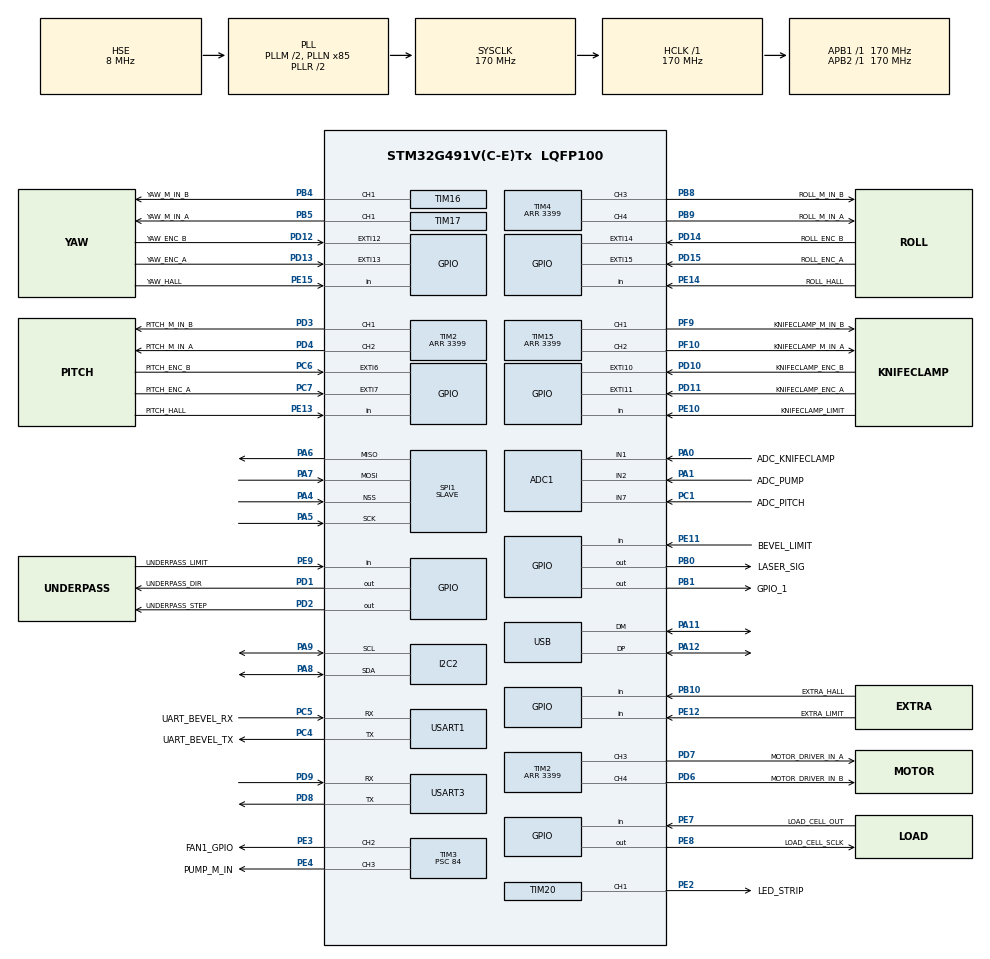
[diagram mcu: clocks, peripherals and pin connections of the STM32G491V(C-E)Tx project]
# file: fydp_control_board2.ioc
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ADC1.Channel-0\#ChannelRegularConversion=ADC_CHANNEL_1
ADC1.Channel-1\#ChannelRegularConversion=ADC_CHANNEL_2
ADC1.Channel-2\#ChannelRegularConversion=ADC_CHANNEL_7
ADC1.Channel-3\#ChannelRegularConversion=ADC_CHANNEL_1
ADC1.ContinuousConvMode=ENABLE
ADC1.DMAContinuousRequests=ENABLE
ADC1.NbrOfConversion=4
ADC1.NbrOfConversionFlag=1
ADC1.OffsetNumber-0\#ChannelRegularConversion=ADC_OFFSET_NONE
ADC1.OffsetNumber-1\#ChannelRegularConversion=ADC_OFFSET_NONE
ADC1.OffsetNumber-2\#ChannelRegularConversion=ADC_OFFSET_NONE
ADC1.OffsetNumber-3\#ChannelRegularConversion=ADC_OFFSET_NONE
ADC1.Overrun=ADC_OVR_DATA_OVERWRITTEN
ADC1.Rank-0\#ChannelRegularConversion=1
ADC1.Rank-1\#ChannelRegularConversion=2
ADC1.Rank-2\#ChannelRegularConversion=3
ADC1.Rank-3\#ChannelRegularConversion=4
ADC1.SamplingTime-0\#ChannelRegularConversion=ADC_SAMPLETIME_47CYCLES_5
ADC1.SamplingTime-1\#ChannelRegularConversion=ADC_SAMPLETIME_47CYCLES_5
ADC1.SamplingTime-2\#ChannelRegularConversion=ADC_SAMPLETIME_47CYCLES_5
ADC1.SamplingTime-3\#ChannelRegularConversion=ADC_SAMPLETIME_2CYCLES_5
ADC1.master=1
Dma.ADC1.0.Direction=DMA_PERIPH_TO_MEMORY
Dma.ADC1.0.EventEnable=DISABLE
Dma.ADC1.0.Instance=DMA1_Channel1
Dma.ADC1.0.MemDataAlignment=DMA_MDATAALIGN_HALFWORD
Dma.ADC1.0.MemInc=DMA_MINC_ENABLE
Dma.ADC1.0.Mode=DMA_NORMAL
Dma.ADC1.0.PeriphDataAlignment=DMA_PDATAALIGN_HALFWORD
Dma.ADC1.0.PeriphInc=DMA_PINC_DISABLE
Dma.ADC1.0.Polarity=HAL_DMAMUX_REQ_GEN_RISING
Dma.ADC1.0.Priority=DMA_PRIORITY_LOW
Dma.ADC1.0.RequestNumber=1
Dma.ADC1.0.SignalID=NONE
Dma.ADC1.0.SyncEnable=DISABLE
Dma.ADC1.0.SyncPolarity=HAL_DMAMUX_SYNC_NO_EVENT
Dma.ADC1.0.SyncRequestNumber=1
Dma.ADC1.0.SyncSignalID=NONE
Dma.Request0=ADC1
I2C2.Timing=0x40B285C2
Mcu.Family=STM32G4
Mcu.Name=STM32G491V(C-E)Tx
Mcu.Package=LQFP100
NVIC.DMA1_Channel1_IRQn=true\:0\:0\:false\:false\:true\:false\:true\:true
NVIC.EXTI15_10_IRQn=true\:0\:0\:false\:false\:true\:true\:true\:true
NVIC.EXTI9_5_IRQn=true\:0\:0\:false\:false\:true\:true\:true\:true
NVIC.I2C2_ER_IRQn=true\:0\:0\:false\:false\:true\:true\:true\:true
NVIC.I2C2_EV_IRQn=true\:0\:0\:false\:false\:true\:true\:true\:true
NVIC.PriorityGroup=NVIC_PRIORITYGROUP_4
NVIC.SPI1_IRQn=true\:0\:0\:false\:false\:true\:true\:true\:true
NVIC.TIM6_DAC_IRQn=true\:0\:0\:false\:false\:true\:true\:true\:true
NVIC.USB_LP_IRQn=true\:0\:0\:false\:false\:true\:false\:true\:true
PA0.GPIO_Label=ADC_KNIFECLAMP
PA0.Mode=IN1-Single-Ended
PA0.Signal=ADC1_IN1
PA1.GPIO_Label=ADC_PUMP
PA1.Mode=IN2-Single-Ended
PA1.Signal=ADC1_IN2
PA11.Mode=Device
PA11.Signal=USB_DM
PA12.Mode=Device
PA12.Signal=USB_DP
PA13.Mode=Trace_Asynchronous_SW
PA13.Signal=SYS_JTMS-SWDIO
PA14.Mode=Trace_Asynchronous_SW
PA14.Signal=SYS_JTCK-SWCLK
PA4.GPIO_Speed=GPIO_SPEED_FREQ_LOW
PA4.Mode=NSS_Signal_Hard_Input
PA4.Signal=SPI1_NSS
PA5.GPIO_Speed=GPIO_SPEED_FREQ_LOW
PA5.Mode=Full_Duplex_Slave
PA5.Signal=SPI1_SCK
PA6.GPIO_Speed=GPIO_SPEED_FREQ_LOW
PA6.Mode=Full_Duplex_Slave
PA6.Signal=SPI1_MISO
PA7.GPIO_Mode=GPIO_MODE_AF_PP
PA7.GPIO_Speed=GPIO_SPEED_FREQ_LOW
PA7.Mode=Full_Duplex_Slave
PA7.Signal=SPI1_MOSI
PA8.GPIO_Pu=GPIO_PULLUP
PA8.GPIO_Speed=GPIO_SPEED_FREQ_VERY_HIGH
PA8.Mode=I2C
PA8.Signal=I2C2_SDA
PA9.GPIO_Pu=GPIO_PULLUP
PA9.GPIO_Speed=GPIO_SPEED_FREQ_VERY_HIGH
PA9.Mode=I2C
PA9.Signal=I2C2_SCL
PB0.GPIO_Label=LASER_SIG
PB0.Signal=GPIO_Output
PB1.GPIO_Label=GPIO_1
PB1.Signal=GPIO_Output
PB10.GPIO_Label=EXTRA_HALL
PB10.GPIO_PuPd=GPIO_PULLDOWN
PB10.Signal=GPIO_Input
PB3.Mode=Trace_Asynchronous_SW
PB3.Signal=SYS_JTDO-SWO
PB4.GPIO_Label=YAW_M_IN_B
PB4.Signal=S_TIM16_CH1
PB5.GPIO_Label=YAW_M_IN_A
PB5.Signal=S_TIM17_CH1
PB8-BOOT0.GPIO_Label=ROLL_M_IN_B
PB8-BOOT0.Signal=S_TIM4_CH3
PB9.GPIO_Label=ROLL_M_IN_A
PB9.Signal=S_TIM4_CH4
PC1.GPIO_Label=ADC_PITCH
PC1.Mode=IN7-Single-Ended
PC1.Signal=ADC1_IN7
PC4.GPIO_Label=UART_BEVEL_TX
PC4.Mode=Asynchronous
PC4.Signal=USART1_TX
PC5.GPIO_Label=UART_BEVEL_RX
PC5.Mode=Asynchronous
PC5.Signal=USART1_RX
PC6.GPIO_Label=PITCH_ENC_B
PC6.GPIO_ModeDefaultEXTI=GPIO_MODE_IT_RISING_FALLING
PC6.Signal=GPXTI6
PC7.GPIO_Label=PITCH_ENC_A
PC7.GPIO_ModeDefaultEXTI=GPIO_MODE_IT_RISING_FALLING
PC7.Signal=GPXTI7
PD1.GPIO_Label=UNDERPASS_DIR
PD1.Signal=GPIO_Output
PD10.GPIO_Label=KNIFECLAMP_ENC_B
PD10.GPIO_ModeDefaultEXTI=GPIO_MODE_IT_RISING_FALLING
PD10.Signal=GPXTI10
PD11.GPIO_Label=KNIFECLAMP_ENC_A
PD11.GPIO_ModeDefaultEXTI=GPIO_MODE_IT_RISING_FALLING
PD11.Signal=GPXTI11
PD12.GPIO_Label=YAW_ENC_B
PD12.GPIO_ModeDefaultEXTI=GPIO_MODE_IT_RISING_FALLING
PD12.Signal=GPXTI12
PD13.GPIO_Label=YAW_ENC_A
PD13.GPIO_ModeDefaultEXTI=GPIO_MODE_IT_RISING_FALLING
PD13.Signal=GPXTI13
PD14.GPIO_Label=ROLL_ENC_B
PD14.GPIO_ModeDefaultEXTI=GPIO_MODE_IT_RISING_FALLING
PD14.Signal=GPXTI14
PD15.GPIO_Label=ROLL_ENC_A
PD15.GPIO_ModeDefaultEXTI=GPIO_MODE_IT_RISING_FALLING
PD15.Signal=GPXTI15
PD2.GPIO_Label=UNDERPASS_STEP
PD2.GPIO_Speed=GPIO_SPEED_FREQ_VERY_HIGH
PD2.PinState=GPIO_PIN_RESET
PD2.Signal=GPIO_Output
PD3.GPIO_Label=PITCH_M_IN_B
PD3.Signal=S_TIM2_CH1
PD4.GPIO_Label=PITCH_M_IN_A
PD4.Signal=S_TIM2_CH2
PD6.GPIO_Label=MOTOR_DRIVER_IN_B
PD6.Signal=S_TIM2_CH4
PD7.GPIO_Label=MOTOR_DRIVER_IN_A
PD7.Signal=S_TIM2_CH3
PD8.Mode=Asynchronous
PD8.Signal=USART3_TX
PD9.Mode=Asynchronous
PD9.Signal=USART3_RX
PE10.GPIO_Label=KNIFECLAMP_LIMIT
PE10.GPIO_PuPd=GPIO_PULLDOWN
PE10.Signal=GPIO_Input
PE11.GPIO_Label=BEVEL_LIMIT
PE11.GPIO_PuPd=GPIO_PULLDOWN
PE11.Signal=GPIO_Input
PE12.GPIO_Label=EXTRA_LIMIT
PE12.GPIO_PuPd=GPIO_PULLDOWN
PE12.Signal=GPIO_Input
PE13.GPIO_Label=PITCH_HALL
PE13.GPIO_PuPd=GPIO_PULLDOWN
PE13.Signal=GPIO_Input
PE14.GPIO_Label=ROLL_HALL
PE14.GPIO_PuPd=GPIO_PULLDOWN
PE14.Signal=GPIO_Input
PE15.GPIO_Label=YAW_HALL
PE15.GPIO_PuPd=GPIO_PULLDOWN
PE15.Signal=GPIO_Input
PE2.GPIO_Label=LED_STRIP
PE2.GPIO_PuPd=GPIO_PULLDOWN
PE2.Signal=S_TIM20_CH1
PE3.GPIO_Label=FAN1_GPIO
PE3.GPIO_PuPd=GPIO_PULLDOWN
PE3.Signal=S_TIM3_CH2
PE4.GPIO_Label=PUMP_M_IN
PE4.GPIO_PuPd=GPIO_PULLDOWN
PE4.Signal=S_TIM3_CH3
PE7.GPIO_Label=LOAD_CELL_OUT
PE7.Signal=GPIO_Input
PE8.GPIO_Label=LOAD_CELL_SCLK
PE8.Signal=GPIO_Output
PE9.GPIO_Label=UNDERPASS_LIMIT
PE9.GPIO_PuPd=GPIO_PULLDOWN
PE9.Signal=GPIO_Input
PF0-OSC_IN.Mode=HSE-External-Oscillator
PF0-OSC_IN.Signal=RCC_OSC_IN
PF1-OSC_OUT.Mode=HSE-External-Oscillator
PF1-OSC_OUT.Signal=RCC_OSC_OUT
PF10.GPIO_Label=KNIFECLAMP_M_IN_A
PF10.Signal=S_TIM15_CH2
PF9.GPIO_Label=KNIFECLAMP_M_IN_B
PF9.Signal=S_TIM15_CH1
ProjectManager.HeapSize=0x200
ProjectManager.StackSize=0x400
ProjectManager.TargetToolchain=CMake
RCC.ADC12Freq_Value=170000000
RCC.ADC345Freq_Value=170000000
RCC.AHBFreq_Value=170000000
RCC.APB1Freq_Value=170000000
RCC.APB1TimFreq_Value=170000000
RCC.APB2Freq_Value=170000000
RCC.APB2TimFreq_Value=170000000
RCC.CortexFreq_Value=170000000
RCC.EXTERNAL_CLOCK_VALUE=12288000
RCC.HCLKFreq_Value=170000000
RCC.HSE_VALUE=8000000
RCC.HSI48_VALUE=48000000
RCC.HSI_VALUE=16000000
RCC.LSE_VALUE=32768
RCC.PLLM=RCC_PLLM_DIV2
RCC.PLLN=85
RCC.PLLSourceVirtual=RCC_PLLSOURCE_HSE
RCC.SYSCLKFreq_VALUE=170000000
RCC.SYSCLKSource=RCC_SYSCLKSOURCE_PLLCLK
RCC.USBFreq_Value=48000000
RCC.VCOOutputFreq_Value=340000000
SH.S_TIM15_CH1.0=TIM15_CH1,PWM Generation1 CH1
SH.S_TIM15_CH2.0=TIM15_CH2,PWM Generation2 CH2
SH.S_TIM16_CH1.0=TIM16_CH1,PWM Generation1 CH1
SH.S_TIM17_CH1.0=TIM17_CH1,PWM Generation1 CH1
SH.S_TIM20_CH1.0=TIM20_CH1,PWM Generation1 CH1
SH.S_TIM2_CH1.0=TIM2_CH1,PWM Generation1 CH1
SH.S_TIM2_CH2.0=TIM2_CH2,PWM Generation2 CH2
SH.S_TIM2_CH3.0=TIM2_CH3,PWM Generation3 CH3
SH.S_TIM2_CH4.0=TIM2_CH4,PWM Generation4 CH4
SH.S_TIM3_CH2.0=TIM3_CH2,PWM Generation2 CH2
SH.S_TIM3_CH3.0=TIM3_CH3,PWM Generation3 CH3
SH.S_TIM4_CH3.0=TIM4_CH3,PWM Generation3 CH3
SH.S_TIM4_CH4.0=TIM4_CH4,PWM Generation4 CH4
SPI1.DataSize=SPI_DATASIZE_8BIT
SPI1.Direction=SPI_DIRECTION_2LINES
SPI1.Mode=SPI_MODE_SLAVE
SPI1.VirtualNSS=VM_NSSHARD
SPI1.VirtualType=VM_SLAVE
TIM15.Channel-PWM\ Generation1\ CH1=TIM_CHANNEL_1
TIM15.Channel-PWM\ Generation2\ CH2=TIM_CHANNEL_2
TIM15.PeriodNoDither=3399
TIM16.Channel=TIM_CHANNEL_1
TIM16.PeriodNoDither=3399
TIM17.Channel=TIM_CHANNEL_1
TIM17.PeriodNoDither=3399
TIM2.Channel-PWM\ Generation1\ CH1=TIM_CHANNEL_1
TIM2.Channel-PWM\ Generation2\ CH2=TIM_CHANNEL_2
TIM2.Channel-PWM\ Generation3\ CH3=TIM_CHANNEL_3
TIM2.Channel-PWM\ Generation4\ CH4=TIM_CHANNEL_4
TIM2.PeriodNoDither=3399
TIM20.Channel-PWM\ Generation1\ CH1=TIM_CHANNEL_1
TIM20.PeriodNoDither=42499
TIM3.Channel-PWM\ Generation1\ CH1=TIM_CHANNEL_1
TIM3.Channel-PWM\ Generation2\ CH2=TIM_CHANNEL_2
TIM3.Channel-PWM\ Generation3\ CH3=TIM_CHANNEL_3
TIM3.PeriodNoDither=29999
TIM3.Prescaler=84
TIM4.Channel-PWM\ Generation3\ CH3=TIM_CHANNEL_3
TIM4.Channel-PWM\ Generation4\ CH4=TIM_CHANNEL_4
TIM4.PeriodNoDither=3399
TIM6.PeriodNoDither=33999
TIM6.Prescaler=4
TIM7.AutoReloadPreload=TIM_AUTORELOAD_PRELOAD_ENABLE
TIM7.PeriodNoDither=65535
TIM7.Prescaler=169
USART1.VirtualMode-Asynchronous=VM_ASYNC
USART3.VirtualMode-Asynchronous=VM_ASYNC
USB_DEVICE.CLASS_NAME_FS=CDC
USB_DEVICE.VirtualMode=Cdc
USB_DEVICE.VirtualModeFS=Cdc_FS
VP_SYS_VS_DBSignals.Mode=DisableDeadBatterySignals
VP_TIM16_VS_ClockSourceINT.Mode=Enable_Timer
VP_TIM17_VS_ClockSourceINT.Mode=Enable_Timer
VP_TIM6_VS_ClockSourceINT.Mode=Enable_Timer
VP_TIM7_VS_ClockSourceINT.Mode=Enable_Timer
VP_USB_DEVICE_VS_USB_DEVICE_CDC_FS.Mode=CDC_FS
board=custom

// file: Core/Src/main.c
/* USER CODE BEGIN Header */
/**
  ******************************************************************************
  * @file           : main.c
  * @brief          : Main program body
  ******************************************************************************
  * @attention
  *
  * Copyright (c) 2025 STMicroelectronics.
  * All rights reserved.
  *
  * This software is licensed under terms that can be found in the LICENSE file
  * in the root directory of this software component.
  * If no LICENSE file comes with this software, it is provided AS-IS.
  *
  ******************************************************************************
  */
/* USER CODE END Header */
#include "main.h"
#include "encoder.h"
#include "stm32g4xx_hal_gpio.h"
#include "usb_device.h"

/* USER CODE BEGIN Includes */

// standard library

// MOTOR CONTROL
#include "drv8251.h"
#include "qpid.h"
#include "robot_config.h"

// STATE MACHINE
#include "robot_control.h"
#include "robot_state.h"

#include "tiny_ring_buffer.h"

//USB Libs
#include "usb_device.h"
#include <stdint.h>
#include <string.h>
#include <stdio.h>
#include <sys/_intsup.h>

#include "test.h"

/* USER CODE END Includes */

ADC_HandleTypeDef hadc1;
DMA_HandleTypeDef hdma_adc1;

I2C_HandleTypeDef hi2c2;

SPI_HandleTypeDef hspi1;

TIM_HandleTypeDef htim2;
TIM_HandleTypeDef htim3;
TIM_HandleTypeDef htim4;
TIM_HandleTypeDef htim6;
TIM_HandleTypeDef htim7;
TIM_HandleTypeDef htim15;
TIM_HandleTypeDef htim16;
TIM_HandleTypeDef htim17;
TIM_HandleTypeDef htim20;

UART_HandleTypeDef huart1;
UART_HandleTypeDef huart3;

/* USER CODE BEGIN PV */
static volatile uint8_t div_10ms;
static volatile uint8_t flag_10ms;

extern uint8_t spi_rx_raw;
extern uint8_t spi_tx_raw;

extern uint8_t spi_rx_store[];
extern tiny_ring_buffer_t spi_rx_buf;
extern uint8_t spi_tx_store[];
extern tiny_ring_buffer_t spi_tx_buf;

uint8_t RX_Buffer [8];

/* USER CODE END PV */

void SystemClock_Config(void);
static void MX_GPIO_Init(void);
static void MX_DMA_Init(void);
static void MX_SPI1_Init(void);
static void MX_TIM3_Init(void);
static void MX_TIM4_Init(void);
static void MX_TIM15_Init(void);
static void MX_TIM16_Init(void);
static void MX_TIM17_Init(void);
static void MX_USART1_UART_Init(void);
static void MX_ADC1_Init(void);
static void MX_I2C2_Init(void);
static void MX_USART3_UART_Init(void);
static void MX_TIM6_Init(void);
static void MX_TIM7_Init(void);
static void MX_TIM20_Init(void);
static void MX_TIM2_Init(void);
/* USER CODE BEGIN PFP */
void HAL_GPIO_EXTI_Callback(uint16_t GPIO_Pin);
/* USER CODE END PFP */

/* USER CODE BEGIN 0 */
void HAL_GPIO_EXTI_Callback(uint16_t GPIO_Pin) {
  switch (GPIO_Pin) {
    case YAW_ENC_A_Pin:
    case YAW_ENC_B_Pin:
        Encoder_EXTI_Callback(dc_yaw.enc);
      break;
    case PITCH_ENC_A_Pin:
    case PITCH_ENC_B_Pin:
        Encoder_EXTI_Callback(dc_pitch.enc);
      break;
    case ROLL_ENC_A_Pin:
    case ROLL_ENC_B_Pin:
        Encoder_EXTI_Callback(dc_roll.enc);
      break;
    case KNIFECLAMP_ENC_A_Pin:
    case KNIFECLAMP_ENC_B_Pin:
        Encoder_EXTI_Callback(dc_clamp.enc);
      break;

    default:
      break;
  }
}

void HAL_TIM_PeriodElapsedCallback(TIM_HandleTypeDef *htim) {
  if (htim->Instance == TIM6) {

    // 1 ms update
    for (int i = 0; i < NUM_DC_MOTORS; i++) {
      MotorCtrl_Update(dc_motors[i]);
    }

    // 10 ms update
    if (++div_10ms >= 10) {
      div_10ms  = 0;
      flag_10ms = 1;
    }
  }
}

void HAL_SPI_TxRxCpltCallback(SPI_HandleTypeDef *hspi) {
  if (hspi->Instance == SPI1) {
    // buffer the received byte into the SPI RX ring buffer
    tiny_ring_buffer_insert(&spi_rx_buf, &spi_rx_raw);

    // pop next byte to transmit from the SPI TX ring buffer, or send empty byte if none
    tiny_ring_buffer_remove(&spi_tx_buf, &spi_tx_raw);

    // start next SPI transmit/receive
    HAL_SPI_TransmitReceive_IT(hspi, &spi_tx_raw, &spi_rx_raw, 1);
  }
}

/* USER CODE END 0 */

int main(void)
{

  /* MCU Configuration--------------------------------------------------------*/

  /* Reset of all peripherals, Initializes the Flash interface and the Systick. */
  HAL_Init();

  /* Configure the system clock */
  SystemClock_Config();

  /* Initialize all configured peripherals */
  MX_GPIO_Init();
  MX_DMA_Init();
  MX_SPI1_Init();
  MX_TIM3_Init();
  MX_TIM4_Init();
  MX_TIM15_Init();
  MX_TIM16_Init();
  MX_TIM17_Init();
  MX_USART1_UART_Init();
  MX_ADC1_Init();
  MX_I2C2_Init();
  MX_USART3_UART_Init();
  MX_TIM6_Init();
  MX_USB_Device_Init();
  MX_TIM7_Init();
  MX_TIM20_Init();
  MX_TIM2_Init();
  /* USER CODE BEGIN 2 */
  HAL_TIM_Base_Start_IT(&htim6);
  HAL_TIM_Base_Start(&htim7);
  RobotConfig_Init();

  LED_SetDuty(&led_strip, 1.0f);

  // The_Test();

  RobotState_Init();

  /* USER CODE END 2 */

  /* Infinite loop */
  while (1)
  {

    // /* USER CODE BEGIN 3 */

    RobotState_DecoderHighFreq();

    if (flag_10ms) {
     flag_10ms = 0;
     RobotState_Decoder();
    //  LED_PulseUpdate(&led_strip);
    }
  }
  /* USER CODE END 3 */
}

void SystemClock_Config(void)
{
  RCC_OscInitTypeDef RCC_OscInitStruct = {0};
  RCC_ClkInitTypeDef RCC_ClkInitStruct = {0};

  /** Configure the main internal regulator output voltage
  */
  HAL_PWREx_ControlVoltageScaling(PWR_REGULATOR_VOLTAGE_SCALE1_BOOST);

  /** Initializes the RCC Oscillators according to the specified parameters
  * in the RCC_OscInitTypeDef structure.
  */
  RCC_OscInitStruct.OscillatorType = RCC_OSCILLATORTYPE_HSI48|RCC_OSCILLATORTYPE_HSE;
  RCC_OscInitStruct.HSEState = RCC_HSE_ON;
  RCC_OscInitStruct.HSI48State = RCC_HSI48_ON;
  RCC_OscInitStruct.PLL.PLLState = RCC_PLL_ON;
  RCC_OscInitStruct.PLL.PLLSource = RCC_PLLSOURCE_HSE;
  RCC_OscInitStruct.PLL.PLLM = RCC_PLLM_DIV2;
  RCC_OscInitStruct.PLL.PLLN = 85;
  RCC_OscInitStruct.PLL.PLLP = RCC_PLLP_DIV2;
  RCC_OscInitStruct.PLL.PLLQ = RCC_PLLQ_DIV2;
  RCC_OscInitStruct.PLL.PLLR = RCC_PLLR_DIV2;
  if (HAL_RCC_OscConfig(&RCC_OscInitStruct) != HAL_OK)
  {
    Error_Handler();
  }

  /** Initializes the CPU, AHB and APB buses clocks
  */
  RCC_ClkInitStruct.ClockType = RCC_CLOCKTYPE_HCLK|RCC_CLOCKTYPE_SYSCLK
                              |RCC_CLOCKTYPE_PCLK1|RCC_CLOCKTYPE_PCLK2;
  RCC_ClkInitStruct.SYSCLKSource = RCC_SYSCLKSOURCE_PLLCLK;
  RCC_ClkInitStruct.AHBCLKDivider = RCC_SYSCLK_DIV1;
  RCC_ClkInitStruct.APB1CLKDivider = RCC_HCLK_DIV1;
  RCC_ClkInitStruct.APB2CLKDivider = RCC_HCLK_DIV1;

  if (HAL_RCC_ClockConfig(&RCC_ClkInitStruct, FLASH_LATENCY_4) != HAL_OK)
  {
    Error_Handler();
  }
}

static void MX_ADC1_Init(void)
{

  ADC_MultiModeTypeDef multimode = {0};
  ADC_ChannelConfTypeDef sConfig = {0};

  /** Common config
  */
  hadc1.Instance = ADC1;
  hadc1.Init.ClockPrescaler = ADC_CLOCK_SYNC_PCLK_DIV4;
  hadc1.Init.Resolution = ADC_RESOLUTION_12B;
  hadc1.Init.DataAlign = ADC_DATAALIGN_RIGHT;
  hadc1.Init.GainCompensation = 0;
  hadc1.Init.ScanConvMode = ADC_SCAN_ENABLE;
  hadc1.Init.EOCSelection = ADC_EOC_SINGLE_CONV;
  hadc1.Init.LowPowerAutoWait = DISABLE;
  hadc1.Init.ContinuousConvMode = ENABLE;
  hadc1.Init.NbrOfConversion = 4;
  hadc1.Init.DiscontinuousConvMode = DISABLE;
  hadc1.Init.ExternalTrigConv = ADC_SOFTWARE_START;
  hadc1.Init.ExternalTrigConvEdge = ADC_EXTERNALTRIGCONVEDGE_NONE;
  hadc1.Init.DMAContinuousRequests = ENABLE;
  hadc1.Init.Overrun = ADC_OVR_DATA_OVERWRITTEN;
  hadc1.Init.OversamplingMode = DISABLE;
  if (HAL_ADC_Init(&hadc1) != HAL_OK)
  {
    Error_Handler();
  }

  /** Configure the ADC multi-mode
  */
  multimode.Mode = ADC_MODE_INDEPENDENT;
  if (HAL_ADCEx_MultiModeConfigChannel(&hadc1, &multimode) != HAL_OK)
  {
    Error_Handler();
  }

  /** Configure Regular Channel
  */
  sConfig.Channel = ADC_CHANNEL_1;
  sConfig.Rank = ADC_REGULAR_RANK_1;
  sConfig.SamplingTime = ADC_SAMPLETIME_47CYCLES_5;
  sConfig.SingleDiff = ADC_SINGLE_ENDED;
  sConfig.OffsetNumber = ADC_OFFSET_NONE;
  sConfig.Offset = 0;
  if (HAL_ADC_ConfigChannel(&hadc1, &sConfig) != HAL_OK)
  {
    Error_Handler();
  }

  /** Configure Regular Channel
  */
  sConfig.Channel = ADC_CHANNEL_2;
  sConfig.Rank = ADC_REGULAR_RANK_2;
  if (HAL_ADC_ConfigChannel(&hadc1, &sConfig) != HAL_OK)
  {
    Error_Handler();
  }

  /** Configure Regular Channel
  */
  sConfig.Channel = ADC_CHANNEL_7;
  sConfig.Rank = ADC_REGULAR_RANK_3;
  if (HAL_ADC_ConfigChannel(&hadc1, &sConfig) != HAL_OK)
  {
    Error_Handler();
  }

  /** Configure Regular Channel
  */
  sConfig.Channel = ADC_CHANNEL_1;
  sConfig.Rank = ADC_REGULAR_RANK_4;
  sConfig.SamplingTime = ADC_SAMPLETIME_2CYCLES_5;
  if (HAL_ADC_ConfigChannel(&hadc1, &sConfig) != HAL_OK)
  {
    Error_Handler();
  }

}

static void MX_I2C2_Init(void)
{

  hi2c2.Instance = I2C2;
  hi2c2.Init.Timing = 0x40B285C2;
  hi2c2.Init.OwnAddress1 = 0;
  hi2c2.Init.AddressingMode = I2C_ADDRESSINGMODE_7BIT;
  hi2c2.Init.DualAddressMode = I2C_DUALADDRESS_DISABLE;
  hi2c2.Init.OwnAddress2 = 0;
  hi2c2.Init.OwnAddress2Masks = I2C_OA2_NOMASK;
  hi2c2.Init.GeneralCallMode = I2C_GENERALCALL_DISABLE;
  hi2c2.Init.NoStretchMode = I2C_NOSTRETCH_DISABLE;
  if (HAL_I2C_Init(&hi2c2) != HAL_OK)
  {
    Error_Handler();
  }

  /** Configure Analogue filter
  */
  if (HAL_I2CEx_ConfigAnalogFilter(&hi2c2, I2C_ANALOGFILTER_ENABLE) != HAL_OK)
  {
    Error_Handler();
  }

  /** Configure Digital filter
  */
  if (HAL_I2CEx_ConfigDigitalFilter(&hi2c2, 0) != HAL_OK)
  {
    Error_Handler();
  }

}

static void MX_SPI1_Init(void)
{

  /* SPI1 parameter configuration*/
  hspi1.Instance = SPI1;
  hspi1.Init.Mode = SPI_MODE_SLAVE;
  hspi1.Init.Direction = SPI_DIRECTION_2LINES;
  hspi1.Init.DataSize = SPI_DATASIZE_8BIT;
  hspi1.Init.CLKPolarity = SPI_POLARITY_LOW;
  hspi1.Init.CLKPhase = SPI_PHASE_1EDGE;
  hspi1.Init.NSS = SPI_NSS_HARD_INPUT;
  hspi1.Init.FirstBit = SPI_FIRSTBIT_MSB;
  hspi1.Init.TIMode = SPI_TIMODE_DISABLE;
  hspi1.Init.CRCCalculation = SPI_CRCCALCULATION_DISABLE;
  hspi1.Init.CRCPolynomial = 7;
  hspi1.Init.CRCLength = SPI_CRC_LENGTH_DATASIZE;
  hspi1.Init.NSSPMode = SPI_NSS_PULSE_DISABLE;
  if (HAL_SPI_Init(&hspi1) != HAL_OK)
  {
    Error_Handler();
  }

}

static void MX_TIM2_Init(void)
{

  TIM_MasterConfigTypeDef sMasterConfig = {0};
  TIM_OC_InitTypeDef sConfigOC = {0};

  htim2.Instance = TIM2;
  htim2.Init.Prescaler = 0;
  htim2.Init.CounterMode = TIM_COUNTERMODE_UP;
  htim2.Init.Period = 3399;
  htim2.Init.ClockDivision = TIM_CLOCKDIVISION_DIV1;
  htim2.Init.AutoReloadPreload = TIM_AUTORELOAD_PRELOAD_DISABLE;
  if (HAL_TIM_PWM_Init(&htim2) != HAL_OK)
  {
    Error_Handler();
  }
  sMasterConfig.MasterOutputTrigger = TIM_TRGO_RESET;
  sMasterConfig.MasterSlaveMode = TIM_MASTERSLAVEMODE_DISABLE;
  if (HAL_TIMEx_MasterConfigSynchronization(&htim2, &sMasterConfig) != HAL_OK)
  {
    Error_Handler();
  }
  sConfigOC.OCMode = TIM_OCMODE_PWM1;
  sConfigOC.Pulse = 0;
  sConfigOC.OCPolarity = TIM_OCPOLARITY_HIGH;
  sConfigOC.OCFastMode = TIM_OCFAST_DISABLE;
  if (HAL_TIM_PWM_ConfigChannel(&htim2, &sConfigOC, TIM_CHANNEL_1) != HAL_OK)
  {
    Error_Handler();
  }
  if (HAL_TIM_PWM_ConfigChannel(&htim2, &sConfigOC, TIM_CHANNEL_2) != HAL_OK)
  {
    Error_Handler();
  }
  if (HAL_TIM_PWM_ConfigChannel(&htim2, &sConfigOC, TIM_CHANNEL_3) != HAL_OK)
  {
    Error_Handler();
  }
  if (HAL_TIM_PWM_ConfigChannel(&htim2, &sConfigOC, TIM_CHANNEL_4) != HAL_OK)
  {
    Error_Handler();
  }
  HAL_TIM_MspPostInit(&htim2);

}

static void MX_TIM3_Init(void)
{

  TIM_MasterConfigTypeDef sMasterConfig = {0};
  TIM_OC_InitTypeDef sConfigOC = {0};

  htim3.Instance = TIM3;
  htim3.Init.Prescaler = 84;
  htim3.Init.CounterMode = TIM_COUNTERMODE_UP;
  htim3.Init.Period = 29999;
  htim3.Init.ClockDivision = TIM_CLOCKDIVISION_DIV1;
  htim3.Init.AutoReloadPreload = TIM_AUTORELOAD_PRELOAD_DISABLE;
  if (HAL_TIM_PWM_Init(&htim3) != HAL_OK)
  {
    Error_Handler();
  }
  sMasterConfig.MasterOutputTrigger = TIM_TRGO_RESET;
  sMasterConfig.MasterSlaveMode = TIM_MASTERSLAVEMODE_DISABLE;
  if (HAL_TIMEx_MasterConfigSynchronization(&htim3, &sMasterConfig) != HAL_OK)
  {
    Error_Handler();
  }
  sConfigOC.OCMode = TIM_OCMODE_PWM1;
  sConfigOC.Pulse = 0;
  sConfigOC.OCPolarity = TIM_OCPOLARITY_HIGH;
  sConfigOC.OCFastMode = TIM_OCFAST_DISABLE;
  if (HAL_TIM_PWM_ConfigChannel(&htim3, &sConfigOC, TIM_CHANNEL_2) != HAL_OK)
  {
    Error_Handler();
  }
  if (HAL_TIM_PWM_ConfigChannel(&htim3, &sConfigOC, TIM_CHANNEL_3) != HAL_OK)
  {
    Error_Handler();
  }
  HAL_TIM_MspPostInit(&htim3);

}

static void MX_TIM4_Init(void)
{

  TIM_MasterConfigTypeDef sMasterConfig = {0};
  TIM_OC_InitTypeDef sConfigOC = {0};

  htim4.Instance = TIM4;
  htim4.Init.Prescaler = 0;
  htim4.Init.CounterMode = TIM_COUNTERMODE_UP;
  htim4.Init.Period = 3399;
  htim4.Init.ClockDivision = TIM_CLOCKDIVISION_DIV1;
  htim4.Init.AutoReloadPreload = TIM_AUTORELOAD_PRELOAD_DISABLE;
  if (HAL_TIM_PWM_Init(&htim4) != HAL_OK)
  {
    Error_Handler();
  }
  sMasterConfig.MasterOutputTrigger = TIM_TRGO_RESET;
  sMasterConfig.MasterSlaveMode = TIM_MASTERSLAVEMODE_DISABLE;
  if (HAL_TIMEx_MasterConfigSynchronization(&htim4, &sMasterConfig) != HAL_OK)
  {
    Error_Handler();
  }
  sConfigOC.OCMode = TIM_OCMODE_PWM1;
  sConfigOC.Pulse = 0;
  sConfigOC.OCPolarity = TIM_OCPOLARITY_HIGH;
  sConfigOC.OCFastMode = TIM_OCFAST_DISABLE;
  if (HAL_TIM_PWM_ConfigChannel(&htim4, &sConfigOC, TIM_CHANNEL_3) != HAL_OK)
  {
    Error_Handler();
  }
  if (HAL_TIM_PWM_ConfigChannel(&htim4, &sConfigOC, TIM_CHANNEL_4) != HAL_OK)
  {
    Error_Handler();
  }
  HAL_TIM_MspPostInit(&htim4);

}

static void MX_TIM6_Init(void)
{

  TIM_MasterConfigTypeDef sMasterConfig = {0};

  htim6.Instance = TIM6;
  htim6.Init.Prescaler = 4;
  htim6.Init.CounterMode = TIM_COUNTERMODE_UP;
  htim6.Init.Period = 33999;
  htim6.Init.AutoReloadPreload = TIM_AUTORELOAD_PRELOAD_DISABLE;
  if (HAL_TIM_Base_Init(&htim6) != HAL_OK)
  {
    Error_Handler();
  }
  sMasterConfig.MasterOutputTrigger = TIM_TRGO_RESET;
  sMasterConfig.MasterSlaveMode = TIM_MASTERSLAVEMODE_DISABLE;
  if (HAL_TIMEx_MasterConfigSynchronization(&htim6, &sMasterConfig) != HAL_OK)
  {
    Error_Handler();
  }

}

static void MX_TIM7_Init(void)
{

  TIM_MasterConfigTypeDef sMasterConfig = {0};

  htim7.Instance = TIM7;
  htim7.Init.Prescaler = 169;
  htim7.Init.CounterMode = TIM_COUNTERMODE_UP;
  htim7.Init.Period = 65535;
  htim7.Init.AutoReloadPreload = TIM_AUTORELOAD_PRELOAD_ENABLE;
  if (HAL_TIM_Base_Init(&htim7) != HAL_OK)
  {
    Error_Handler();
  }
  sMasterConfig.MasterOutputTrigger = TIM_TRGO_RESET;
  sMasterConfig.MasterSlaveMode = TIM_MASTERSLAVEMODE_DISABLE;
  if (HAL_TIMEx_MasterConfigSynchronization(&htim7, &sMasterConfig) != HAL_OK)
  {
    Error_Handler();
  }

}

static void MX_TIM15_Init(void)
{

  TIM_MasterConfigTypeDef sMasterConfig = {0};
  TIM_OC_InitTypeDef sConfigOC = {0};
  TIM_BreakDeadTimeConfigTypeDef sBreakDeadTimeConfig = {0};

  htim15.Instance = TIM15;
  htim15.Init.Prescaler = 0;
  htim15.Init.CounterMode = TIM_COUNTERMODE_UP;
  htim15.Init.Period = 3399;
  htim15.Init.ClockDivision = TIM_CLOCKDIVISION_DIV1;
  htim15.Init.RepetitionCounter = 0;
  htim15.Init.AutoReloadPreload = TIM_AUTORELOAD_PRELOAD_DISABLE;
  if (HAL_TIM_PWM_Init(&htim15) != HAL_OK)
  {
    Error_Handler();
  }
  sMasterConfig.MasterOutputTrigger = TIM_TRGO_RESET;
  sMasterConfig.MasterSlaveMode = TIM_MASTERSLAVEMODE_DISABLE;
  if (HAL_TIMEx_MasterConfigSynchronization(&htim15, &sMasterConfig) != HAL_OK)
  {
    Error_Handler();
  }
  sConfigOC.OCMode = TIM_OCMODE_PWM1;
  sConfigOC.Pulse = 0;
  sConfigOC.OCPolarity = TIM_OCPOLARITY_HIGH;
  sConfigOC.OCNPolarity = TIM_OCNPOLARITY_HIGH;
  sConfigOC.OCFastMode = TIM_OCFAST_DISABLE;
  sConfigOC.OCIdleState = TIM_OCIDLESTATE_RESET;
  sConfigOC.OCNIdleState = TIM_OCNIDLESTATE_RESET;
  if (HAL_TIM_PWM_ConfigChannel(&htim15, &sConfigOC, TIM_CHANNEL_1) != HAL_OK)
  {
    Error_Handler();
  }
  if (HAL_TIM_PWM_ConfigChannel(&htim15, &sConfigOC, TIM_CHANNEL_2) != HAL_OK)
  {
    Error_Handler();
  }
  sBreakDeadTimeConfig.OffStateRunMode = TIM_OSSR_DISABLE;
  sBreakDeadTimeConfig.OffStateIDLEMode = TIM_OSSI_DISABLE;
  sBreakDeadTimeConfig.LockLevel = TIM_LOCKLEVEL_OFF;
  sBreakDeadTimeConfig.DeadTime = 0;
  sBreakDeadTimeConfig.BreakState = TIM_BREAK_DISABLE;
  sBreakDeadTimeConfig.BreakPolarity = TIM_BREAKPOLARITY_HIGH;
  sBreakDeadTimeConfig.BreakFilter = 0;
  sBreakDeadTimeConfig.AutomaticOutput = TIM_AUTOMATICOUTPUT_DISABLE;
  if (HAL_TIMEx_ConfigBreakDeadTime(&htim15, &sBreakDeadTimeConfig) != HAL_OK)
  {
    Error_Handler();
  }
  HAL_TIM_MspPostInit(&htim15);

}

static void MX_TIM16_Init(void)
{

  TIM_OC_InitTypeDef sConfigOC = {0};
  TIM_BreakDeadTimeConfigTypeDef sBreakDeadTimeConfig = {0};

  htim16.Instance = TIM16;
  htim16.Init.Prescaler = 0;
  htim16.Init.CounterMode = TIM_COUNTERMODE_UP;
  htim16.Init.Period = 3399;
  htim16.Init.ClockDivision = TIM_CLOCKDIVISION_DIV1;
  htim16.Init.RepetitionCounter = 0;
  htim16.Init.AutoReloadPreload = TIM_AUTORELOAD_PRELOAD_DISABLE;
  if (HAL_TIM_Base_Init(&htim16) != HAL_OK)
  {
    Error_Handler();
  }
  if (HAL_TIM_PWM_Init(&htim16) != HAL_OK)
  {
    Error_Handler();
  }
  sConfigOC.OCMode = TIM_OCMODE_PWM1;
  sConfigOC.Pulse = 0;
  sConfigOC.OCPolarity = TIM_OCPOLARITY_HIGH;
  sConfigOC.OCNPolarity = TIM_OCNPOLARITY_HIGH;
  sConfigOC.OCFastMode = TIM_OCFAST_DISABLE;
  sConfigOC.OCIdleState = TIM_OCIDLESTATE_RESET;
  sConfigOC.OCNIdleState = TIM_OCNIDLESTATE_RESET;
  if (HAL_TIM_PWM_ConfigChannel(&htim16, &sConfigOC, TIM_CHANNEL_1) != HAL_OK)
  {
    Error_Handler();
  }
  sBreakDeadTimeConfig.OffStateRunMode = TIM_OSSR_DISABLE;
  sBreakDeadTimeConfig.OffStateIDLEMode = TIM_OSSI_DISABLE;
  sBreakDeadTimeConfig.LockLevel = TIM_LOCKLEVEL_OFF;
  sBreakDeadTimeConfig.DeadTime = 0;
  sBreakDeadTimeConfig.BreakState = TIM_BREAK_DISABLE;
  sBreakDeadTimeConfig.BreakPolarity = TIM_BREAKPOLARITY_HIGH;
  sBreakDeadTimeConfig.BreakFilter = 0;
  sBreakDeadTimeConfig.AutomaticOutput = TIM_AUTOMATICOUTPUT_DISABLE;
  if (HAL_TIMEx_ConfigBreakDeadTime(&htim16, &sBreakDeadTimeConfig) != HAL_OK)
  {
    Error_Handler();
  }
  HAL_TIM_MspPostInit(&htim16);

}

static void MX_TIM17_Init(void)
{

  TIM_OC_InitTypeDef sConfigOC = {0};
  TIM_BreakDeadTimeConfigTypeDef sBreakDeadTimeConfig = {0};

  htim17.Instance = TIM17;
  htim17.Init.Prescaler = 0;
  htim17.Init.CounterMode = TIM_COUNTERMODE_UP;
  htim17.Init.Period = 3399;
  htim17.Init.ClockDivision = TIM_CLOCKDIVISION_DIV1;
  htim17.Init.RepetitionCounter = 0;
  htim17.Init.AutoReloadPreload = TIM_AUTORELOAD_PRELOAD_DISABLE;
  if (HAL_TIM_Base_Init(&htim17) != HAL_OK)
  {
    Error_Handler();
  }
  if (HAL_TIM_PWM_Init(&htim17) != HAL_OK)
  {
    Error_Handler();
  }
  sConfigOC.OCMode = TIM_OCMODE_PWM1;
  sConfigOC.Pulse = 0;
  sConfigOC.OCPolarity = TIM_OCPOLARITY_HIGH;
  sConfigOC.OCNPolarity = TIM_OCNPOLARITY_HIGH;
  sConfigOC.OCFastMode = TIM_OCFAST_DISABLE;
  sConfigOC.OCIdleState = TIM_OCIDLESTATE_RESET;
  sConfigOC.OCNIdleState = TIM_OCNIDLESTATE_RESET;
  if (HAL_TIM_PWM_ConfigChannel(&htim17, &sConfigOC, TIM_CHANNEL_1) != HAL_OK)
  {
    Error_Handler();
  }
  sBreakDeadTimeConfig.OffStateRunMode = TIM_OSSR_DISABLE;
  sBreakDeadTimeConfig.OffStateIDLEMode = TIM_OSSI_DISABLE;
  sBreakDeadTimeConfig.LockLevel = TIM_LOCKLEVEL_OFF;
  sBreakDeadTimeConfig.DeadTime = 0;
  sBreakDeadTimeConfig.BreakState = TIM_BREAK_DISABLE;
  sBreakDeadTimeConfig.BreakPolarity = TIM_BREAKPOLARITY_HIGH;
  sBreakDeadTimeConfig.BreakFilter = 0;
  sBreakDeadTimeConfig.AutomaticOutput = TIM_AUTOMATICOUTPUT_DISABLE;
  if (HAL_TIMEx_ConfigBreakDeadTime(&htim17, &sBreakDeadTimeConfig) != HAL_OK)
  {
    Error_Handler();
  }
  HAL_TIM_MspPostInit(&htim17);

}

static void MX_TIM20_Init(void)
{

  TIM_MasterConfigTypeDef sMasterConfig = {0};
  TIM_OC_InitTypeDef sConfigOC = {0};
  TIM_BreakDeadTimeConfigTypeDef sBreakDeadTimeConfig = {0};

  htim20.Instance = TIM20;
  htim20.Init.Prescaler = 0;
  htim20.Init.CounterMode = TIM_COUNTERMODE_UP;
  htim20.Init.Period = 42499;
  htim20.Init.ClockDivision = TIM_CLOCKDIVISION_DIV1;
  htim20.Init.RepetitionCounter = 0;
  htim20.Init.AutoReloadPreload = TIM_AUTORELOAD_PRELOAD_DISABLE;
  if (HAL_TIM_PWM_Init(&htim20) != HAL_OK)
  {
    Error_Handler();
  }
  sMasterConfig.MasterOutputTrigger = TIM_TRGO_RESET;
  sMasterConfig.MasterOutputTrigger2 = TIM_TRGO2_RESET;
  sMasterConfig.MasterSlaveMode = TIM_MASTERSLAVEMODE_DISABLE;
  if (HAL_TIMEx_MasterConfigSynchronization(&htim20, &sMasterConfig) != HAL_OK)
  {
    Error_Handler();
  }
  sConfigOC.OCMode = TIM_OCMODE_PWM1;
  sConfigOC.Pulse = 0;
  sConfigOC.OCPolarity = TIM_OCPOLARITY_HIGH;
  sConfigOC.OCNPolarity = TIM_OCNPOLARITY_HIGH;
  sConfigOC.OCFastMode = TIM_OCFAST_DISABLE;
  sConfigOC.OCIdleState = TIM_OCIDLESTATE_RESET;
  sConfigOC.OCNIdleState = TIM_OCNIDLESTATE_RESET;
  if (HAL_TIM_PWM_ConfigChannel(&htim20, &sConfigOC, TIM_CHANNEL_1) != HAL_OK)
  {
    Error_Handler();
  }
  sBreakDeadTimeConfig.OffStateRunMode = TIM_OSSR_DISABLE;
  sBreakDeadTimeConfig.OffStateIDLEMode = TIM_OSSI_DISABLE;
  sBreakDeadTimeConfig.LockLevel = TIM_LOCKLEVEL_OFF;
  sBreakDeadTimeConfig.DeadTime = 0;
  sBreakDeadTimeConfig.BreakState = TIM_BREAK_DISABLE;
  sBreakDeadTimeConfig.BreakPolarity = TIM_BREAKPOLARITY_HIGH;
  sBreakDeadTimeConfig.BreakFilter = 0;
  sBreakDeadTimeConfig.BreakAFMode = TIM_BREAK_AFMODE_INPUT;
  sBreakDeadTimeConfig.Break2State = TIM_BREAK2_DISABLE;
  sBreakDeadTimeConfig.Break2Polarity = TIM_BREAK2POLARITY_HIGH;
  sBreakDeadTimeConfig.Break2Filter = 0;
  sBreakDeadTimeConfig.Break2AFMode = TIM_BREAK_AFMODE_INPUT;
  sBreakDeadTimeConfig.AutomaticOutput = TIM_AUTOMATICOUTPUT_DISABLE;
  if (HAL_TIMEx_ConfigBreakDeadTime(&htim20, &sBreakDeadTimeConfig) != HAL_OK)
  {
    Error_Handler();
  }
  HAL_TIM_MspPostInit(&htim20);

}

static void MX_USART1_UART_Init(void)
{

  huart1.Instance = USART1;
  huart1.Init.BaudRate = 115200;
  huart1.Init.WordLength = UART_WORDLENGTH_8B;
  huart1.Init.StopBits = UART_STOPBITS_1;
  huart1.Init.Parity = UART_PARITY_NONE;
  huart1.Init.Mode = UART_MODE_TX_RX;
  huart1.Init.HwFlowCtl = UART_HWCONTROL_NONE;
  huart1.Init.OverSampling = UART_OVERSAMPLING_16;
  huart1.Init.OneBitSampling = UART_ONE_BIT_SAMPLE_DISABLE;
  huart1.Init.ClockPrescaler = UART_PRESCALER_DIV1;
  huart1.AdvancedInit.AdvFeatureInit = UART_ADVFEATURE_NO_INIT;
  if (HAL_UART_Init(&huart1) != HAL_OK)
  {
    Error_Handler();
  }
  if (HAL_UARTEx_SetTxFifoThreshold(&huart1, UART_TXFIFO_THRESHOLD_1_8) != HAL_OK)
  {
    Error_Handler();
  }
  if (HAL_UARTEx_SetRxFifoThreshold(&huart1, UART_RXFIFO_THRESHOLD_1_8) != HAL_OK)
  {
    Error_Handler();
  }
  if (HAL_UARTEx_DisableFifoMode(&huart1) != HAL_OK)
  {
    Error_Handler();
  }

}

static void MX_USART3_UART_Init(void)
{

  huart3.Instance = USART3;
  huart3.Init.BaudRate = 115200;
  huart3.Init.WordLength = UART_WORDLENGTH_8B;
  huart3.Init.StopBits = UART_STOPBITS_1;
  huart3.Init.Parity = UART_PARITY_NONE;
  huart3.Init.Mode = UART_MODE_TX_RX;
  huart3.Init.HwFlowCtl = UART_HWCONTROL_NONE;
  huart3.Init.OverSampling = UART_OVERSAMPLING_16;
  huart3.Init.OneBitSampling = UART_ONE_BIT_SAMPLE_DISABLE;
  huart3.Init.ClockPrescaler = UART_PRESCALER_DIV1;
  huart3.AdvancedInit.AdvFeatureInit = UART_ADVFEATURE_NO_INIT;
  if (HAL_UART_Init(&huart3) != HAL_OK)
  {
    Error_Handler();
  }
  if (HAL_UARTEx_SetTxFifoThreshold(&huart3, UART_TXFIFO_THRESHOLD_1_8) != HAL_OK)
  {
    Error_Handler();
  }
  if (HAL_UARTEx_SetRxFifoThreshold(&huart3, UART_RXFIFO_THRESHOLD_1_8) != HAL_OK)
  {
    Error_Handler();
  }
  if (HAL_UARTEx_DisableFifoMode(&huart3) != HAL_OK)
  {
    Error_Handler();
  }

}

static void MX_DMA_Init(void)
{

  /* DMA controller clock enable */
  __HAL_RCC_DMAMUX1_CLK_ENABLE();
  __HAL_RCC_DMA1_CLK_ENABLE();

  /* DMA interrupt init */
  /* DMA1_Channel1_IRQn interrupt configuration */
  HAL_NVIC_SetPriority(DMA1_Channel1_IRQn, 0, 0);
  HAL_NVIC_EnableIRQ(DMA1_Channel1_IRQn);

}

static void MX_GPIO_Init(void)
{
  GPIO_InitTypeDef GPIO_InitStruct = {0};

  /* GPIO Ports Clock Enable */
  __HAL_RCC_GPIOE_CLK_ENABLE();
  __HAL_RCC_GPIOF_CLK_ENABLE();
  __HAL_RCC_GPIOC_CLK_ENABLE();
  __HAL_RCC_GPIOA_CLK_ENABLE();
  __HAL_RCC_GPIOB_CLK_ENABLE();
  __HAL_RCC_GPIOD_CLK_ENABLE();

  /*Configure GPIO pin Output Level */
  HAL_GPIO_WritePin(GPIOB, LASER_SIG_Pin|GPIO_1_Pin, GPIO_PIN_RESET);

  /*Configure GPIO pin Output Level */
  HAL_GPIO_WritePin(LOAD_CELL_SCLK_GPIO_Port, LOAD_CELL_SCLK_Pin, GPIO_PIN_RESET);

  /*Configure GPIO pin Output Level */
  HAL_GPIO_WritePin(GPIOD, UNDERPASS_DIR_Pin|UNDERPASS_STEP_Pin, GPIO_PIN_RESET);

  /*Configure GPIO pins : LASER_SIG_Pin GPIO_1_Pin */
  GPIO_InitStruct.Pin = LASER_SIG_Pin|GPIO_1_Pin;
  GPIO_InitStruct.Mode = GPIO_MODE_OUTPUT_PP;
  GPIO_InitStruct.Pull = GPIO_NOPULL;
  GPIO_InitStruct.Speed = GPIO_SPEED_FREQ_LOW;
  HAL_GPIO_Init(GPIOB, &GPIO_InitStruct);

  /*Configure GPIO pin : LOAD_CELL_OUT_Pin */
  GPIO_InitStruct.Pin = LOAD_CELL_OUT_Pin;
  GPIO_InitStruct.Mode = GPIO_MODE_INPUT;
  GPIO_InitStruct.Pull = GPIO_NOPULL;
  HAL_GPIO_Init(LOAD_CELL_OUT_GPIO_Port, &GPIO_InitStruct);

  /*Configure GPIO pin : LOAD_CELL_SCLK_Pin */
  GPIO_InitStruct.Pin = LOAD_CELL_SCLK_Pin;
  GPIO_InitStruct.Mode = GPIO_MODE_OUTPUT_PP;
  GPIO_InitStruct.Pull = GPIO_NOPULL;
  GPIO_InitStruct.Speed = GPIO_SPEED_FREQ_LOW;
  HAL_GPIO_Init(LOAD_CELL_SCLK_GPIO_Port, &GPIO_InitStruct);

  /*Configure GPIO pins : UNDERPASS_LIMIT_Pin KNIFECLAMP_LIMIT_Pin BEVEL_LIMIT_Pin EXTRA_LIMIT_Pin
                           PITCH_HALL_Pin ROLL_HALL_Pin YAW_HALL_Pin */
  GPIO_InitStruct.Pin = UNDERPASS_LIMIT_Pin|KNIFECLAMP_LIMIT_Pin|BEVEL_LIMIT_Pin|EXTRA_LIMIT_Pin
                          |PITCH_HALL_Pin|ROLL_HALL_Pin|YAW_HALL_Pin;
  GPIO_InitStruct.Mode = GPIO_MODE_INPUT;
  GPIO_InitStruct.Pull = GPIO_PULLDOWN;
  HAL_GPIO_Init(GPIOE, &GPIO_InitStruct);

  /*Configure GPIO pin : EXTRA_HALL_Pin */
  GPIO_InitStruct.Pin = EXTRA_HALL_Pin;
  GPIO_InitStruct.Mode = GPIO_MODE_INPUT;
  GPIO_InitStruct.Pull = GPIO_PULLDOWN;
  HAL_GPIO_Init(EXTRA_HALL_GPIO_Port, &GPIO_InitStruct);

  /*Configure GPIO pins : KNIFECLAMP_ENC_B_Pin KNIFECLAMP_ENC_A_Pin YAW_ENC_B_Pin YAW_ENC_A_Pin
                           ROLL_ENC_B_Pin ROLL_ENC_A_Pin */
  GPIO_InitStruct.Pin = KNIFECLAMP_ENC_B_Pin|KNIFECLAMP_ENC_A_Pin|YAW_ENC_B_Pin|YAW_ENC_A_Pin
                          |ROLL_ENC_B_Pin|ROLL_ENC_A_Pin;
  GPIO_InitStruct.Mode = GPIO_MODE_IT_RISING_FALLING;
  GPIO_InitStruct.Pull = GPIO_NOPULL;
  HAL_GPIO_Init(GPIOD, &GPIO_InitStruct);

  /*Configure GPIO pins : PITCH_ENC_B_Pin PITCH_ENC_A_Pin */
  GPIO_InitStruct.Pin = PITCH_ENC_B_Pin|PITCH_ENC_A_Pin;
  GPIO_InitStruct.Mode = GPIO_MODE_IT_RISING_FALLING;
  GPIO_InitStruct.Pull = GPIO_NOPULL;
  HAL_GPIO_Init(GPIOC, &GPIO_InitStruct);

  /*Configure GPIO pin : UNDERPASS_DIR_Pin */
  GPIO_InitStruct.Pin = UNDERPASS_DIR_Pin;
  GPIO_InitStruct.Mode = GPIO_MODE_OUTPUT_PP;
  GPIO_InitStruct.Pull = GPIO_NOPULL;
  GPIO_InitStruct.Speed = GPIO_SPEED_FREQ_LOW;
  HAL_GPIO_Init(UNDERPASS_DIR_GPIO_Port, &GPIO_InitStruct);

  /*Configure GPIO pin : UNDERPASS_STEP_Pin */
  GPIO_InitStruct.Pin = UNDERPASS_STEP_Pin;
  GPIO_InitStruct.Mode = GPIO_MODE_OUTPUT_PP;
  GPIO_InitStruct.Pull = GPIO_NOPULL;
  GPIO_InitStruct.Speed = GPIO_SPEED_FREQ_VERY_HIGH;
  HAL_GPIO_Init(UNDERPASS_STEP_GPIO_Port, &GPIO_InitStruct);

  /* EXTI interrupt init*/
  HAL_NVIC_SetPriority(EXTI9_5_IRQn, 0, 0);
  HAL_NVIC_EnableIRQ(EXTI9_5_IRQn);

  HAL_NVIC_SetPriority(EXTI15_10_IRQn, 0, 0);
  HAL_NVIC_EnableIRQ(EXTI15_10_IRQn);

}

void Error_Handler(void)
{
  __disable_irq();
  while (1)
  {
  }
}
